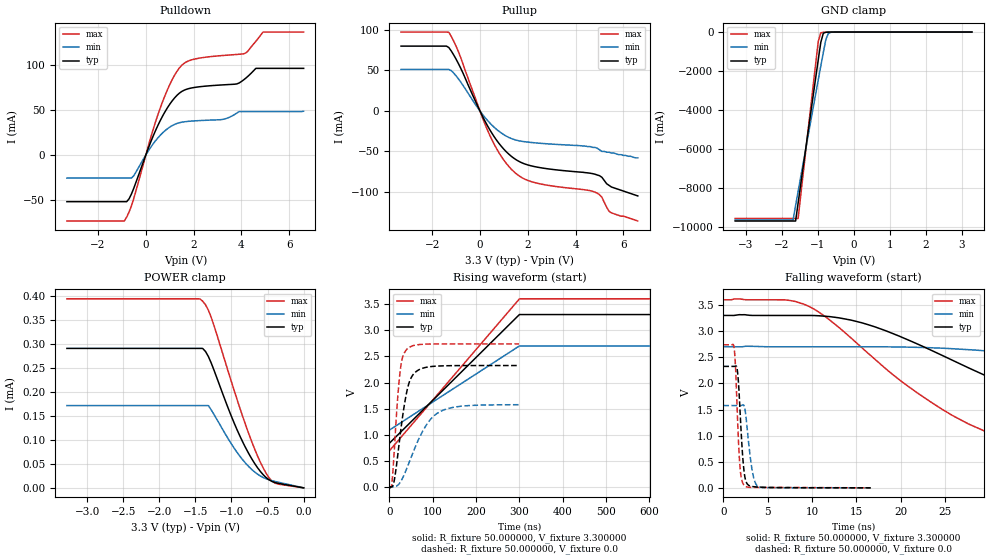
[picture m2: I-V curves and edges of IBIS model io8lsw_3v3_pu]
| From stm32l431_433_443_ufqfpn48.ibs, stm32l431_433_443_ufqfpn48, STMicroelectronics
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|   Model io8lsw_3v3_pu
[Model]  io8lsw_3v3_pu
Model_type I/O
Polarity   Non-Inverting
Enable   Active-Low
Vinl =   0.990000V
Vinh =   2.310000V
Vmeas =  1.650000V
Cref =   100.000000nF
Rref =   1.000000k
Vref =   3.300000V
C_comp   2.968600pF   2.938100pF   3.196200pF
[Temperature Range]   25.000000   0.125000k   -40.000000
[Pullup Reference]   3.300000V   2.700000V   3.600000V
[Pulldown Reference]   0.0V   0.0V   0.0V
[POWER Clamp Reference]   3.300000V   2.700000V   3.600000V
[GND Clamp Reference]   0.0V   0.0V   0.0V
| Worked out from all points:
|   slope of the pulldown table from 0 to 0.495 V, typ, clamps not added: 15.4 ohm
|   slope of the pullup table from 0 to 0.495 V, typ, clamps not added: 18.1 ohm
|   GND clamp passes 1 mA (typ) near -0.58 V on its own axis
|   rising waveform, R_fixture 50.000000, V_fixture 3.300000: 20-80 % time 180ns typ, 180ns min, 180ns max; typ from 0.836 V to 3.3 V
|   rising waveform, R_fixture 50.000000, V_fixture 0.0: 20-80 % time 24ns typ, 53.4ns min, 14.4ns max; typ from 0.001 V to 2.33 V
|   falling waveform, R_fixture 50.000000, V_fixture 3.300000: 20-80 % time 21.1ns typ, 41.5ns min, 13.7ns max; typ from 3.3 V to 0.836 V
|   falling waveform, R_fixture 50.000000, V_fixture 0.0: 20-80 % time 485ps typ, 656ps min, 409ps max; typ from 2.33 V to 0.001 V
[Pulldown]
|Voltage   I(typ)   I(min)   I(max)
-3.3V     -51.62mA   -25.53mA   -73.04mA
-900mV    -51.62mA   -25.53mA   -73.04mA
-500mV    -36.51mA   -22.79mA   -47.71mA
200mV     14.02mA    8.316mA    18.9mA
700mV     42.98mA    24.4mA     58.9mA
1.2V      63.06mA    33.8mA     88.14mA
1.6V      71.63mA    36.67mA    101.4mA
3.2V      77.51mA    39.29mA    110mA
4.1V      83.28mA    47.99mA    112mA
4.6V      95.81mA    47.99mA    125.7mA
4.9V      95.81mA    47.99mA    136mA
6.6V      95.81mA    48.43mA    136mA
[Pullup]
|Voltage   I(typ)   I(min)   I(max)
-3.3V     80.11mA    51.29mA    97.52mA
-1.3V     78.3mA     51.29mA    97.11mA
-900mV    58.49mA    39.6mA     73.22mA
100mV     -6.166mA   -3.962mA   -8.038mA
500mV     -27.53mA   -17.49mA   -35.6mA
1V        -47.29mA   -29.37mA   -60.81mA
1.5V      -60.05mA   -35.95mA   -77.15mA
2.4V      -69.45mA   -39.66mA   -89.34mA
4.8V      -78.1mA    -45mA      -100.2mA
5.1V      -82mA      -50mA      -106.7mA
5.5V      -94mA      -52mA      -126mA
6.6V      -105mA     -58mA      -136mA
[GND_clamp]
|Voltage   I(typ)   I(min)   I(max)
-3.3V     -9.687A    -9.633A    -9.557A
-1.69V    -9.687A    -9.633A    -9.557A
-1.62V    -9.687A    -8.894A    -9.557A
-1.55V    -8.764A    -8.167A    -9.557A
-1.13V    -3.236A    -3.867A    -2.713A
-990mV    -1.416A    -2.448A    -480.1mA
-920mV    -530mA     -1.746A    -39.96mA
-850mV    -62.36mA   -1.055A    -14.04mA
-780mV    -12.04mA   -390.4mA   -9.013mA
-710mV    -4.897mA   -69.08mA   -5.32mA
-640mV    -2.305mA   -14.59mA   -2.498mA
3.28V     0A         0A         0A
[POWER_clamp]
|Voltage   I(typ)   I(min)   I(max)
-3.28V    291uA      171.7uA    394.3uA
-1.44V    291uA      171.7uA    394.3uA
-1.4V     291uA      171.7uA    389.8uA
-1.32V    274.1uA    171.7uA    370.8uA
-1.28V    260.2uA    162.5uA    355.4uA
-1V       148.8uA    91.34uA    220.9uA
-840mV    94.39uA    57.68uA    146.9uA
-680mV    51.08uA    33.16uA    81.3uA
-560mV    27.28uA    21.5uA     41.26uA
-480mV    16.8uA     16.78uA    21.17uA
-400mV    11.23uA    13.5uA     10.02uA
0V        0A         5.458nA    0A
[Ramp]
| variable   typ   min   max
dV/dt_r  1.39456/23.92632n   0.94458/53.43426n   1.64288/14.38401n
dV/dt_f  1.47837/21.13288n   0.96546/44.47049n   1.74562/13.68986n
R_load = 50.000000
[Rising Waveform]
R_fixture= 50.000000
V_fixture= 3.300000
V_fixture_min= 2.700000
V_fixture_max= 3.600000
|time   V(typ)   V(min)   V(max)
0s        836mV      1.089V     690.6mV
300.3ns   3.3V       2.7V       3.6V
600.6ns   3.3V       2.7V       3.6V
29.73us   3.3V       2.7V       3.6V
[Rising Waveform]
R_fixture= 50.000000
V_fixture= 0.0
V_fixture_min= 0.0
V_fixture_max= 0.0
|time   V(typ)   V(min)   V(max)
0s        932.4uV    1.4mV      660.9uV
6.607ns   7.92mV     4.354mV    106.8mV
13.21ns   203.5mV    9.154mV    907.4mV
19.82ns   617.8mV    37.4mV     1.732V
25.83ns   1.031V     96.87mV    2.256V
39.04ns   1.762V     327.2mV    2.621V
59.46ns   2.192V     754.6mV    2.714V
90.69ns   2.299V     1.248V     2.736V
117.7ns   2.317V     1.446V     2.738V
299.1ns   2.325V     1.576V     2.739V
[Falling Waveform]
R_fixture= 50.000000
V_fixture= 3.300000
V_fixture_min= 2.700000
V_fixture_max= 3.600000
|time   V(typ)   V(min)   V(max)
0s        3.3V       2.7V       3.6V
9.61ns    3.3V       2.7V       3.477V
15.62ns   3.159V     2.7V       2.683V
24.62ns   2.539V     2.673V     1.509V
30.03ns   2.113V     2.615V     1.049V
34.23ns   1.807V     2.549V     896.1mV
44.74ns   1.222V     2.324V     777.7mV
57.06ns   997.2mV    2.014V     731.3mV
90.09ns   872.1mV    1.333V     697.6mV
149.5ns   836mV      1.089V     690.6mV
[Falling Waveform]
R_fixture= 50.000000
V_fixture= 0.0
V_fixture_min= 0.0
V_fixture_max= 0.0
|time   V(typ)   V(min)   V(max)
0s        2.325V     1.576V     2.739V
1.201ns   2.325V     1.576V     2.697V
1.368ns   2.331V     1.576V     2.341V
1.568ns   2.265V     1.576V     1.471V
1.869ns   1.526V     1.576V     423.3mV
2.135ns   717.2mV    1.583V     119.6mV
2.369ns   275mV      1.558V     45.49mV
3.237ns   26.98mV    351.3mV    9.489mV
3.837ns   16.65mV    36.32mV    8.336mV
16.62ns   932.4uV    1.4mV      660.9uV
